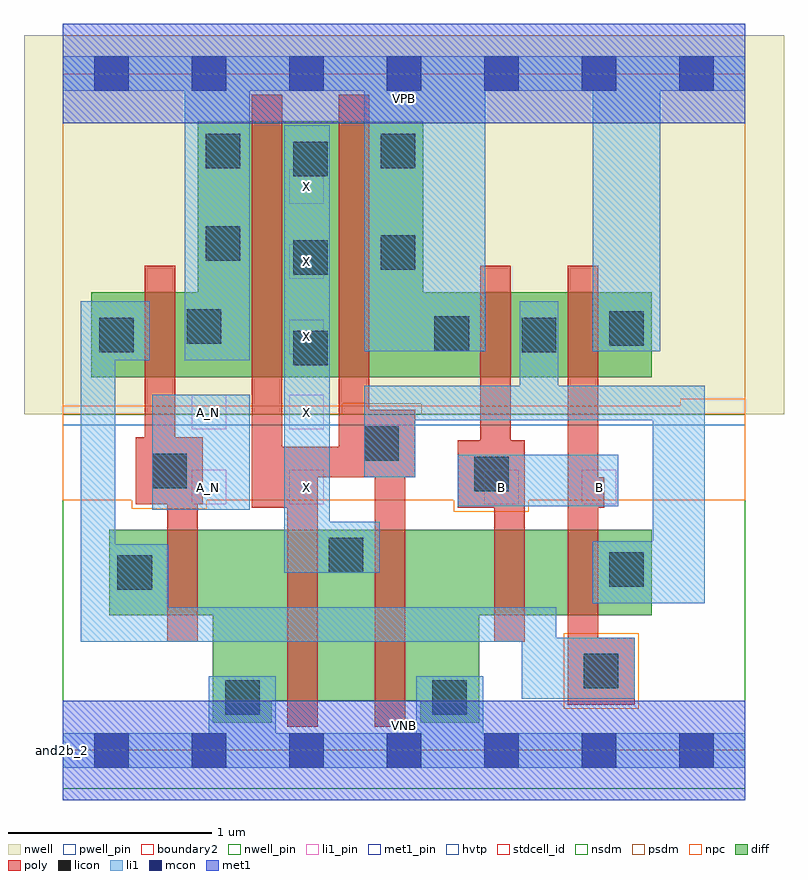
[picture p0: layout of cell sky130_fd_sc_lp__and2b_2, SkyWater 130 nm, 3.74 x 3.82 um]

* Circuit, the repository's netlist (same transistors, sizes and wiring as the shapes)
* Copyright 2020 The SkyWater PDK Authors
*
* Licensed under the Apache License, Version 2.0 (the "License");
* you may not use this file except in compliance with the License.
* You may obtain a copy of the License at
*
*     https://www.apache.org/licenses/LICENSE-2.0
*
* Unless required by applicable law or agreed to in writing, software
* distributed under the License is distributed on an "AS IS" BASIS,
* WITHOUT WARRANTIES OR CONDITIONS OF ANY KIND, either express or implied.
* See the License for the specific language governing permissions and
* limitations under the License.
*
* SPDX-License-Identifier: Apache-2.0

.SUBCKT sky130_fd_sc_lp__and2b_2 A_N B VGND VNB VPB VPWR X
*.PININFO A_N:I B:I VGND:I VNB:I VPB:I VPWR:I X:O
MMP0 y A VPWR VPB sky130_fd_pr__pfet_01v8_hvt m=1 w=0.42U l=0.15U mult=1 sa=0.265
+ sb=0.265 sd=0.28 area=0.063 perim=1.14
MMP1 y B VPWR VPB sky130_fd_pr__pfet_01v8_hvt m=1 w=0.42U l=0.15U mult=1 sa=0.265
+ sb=0.265 sd=0.28 area=0.063 perim=1.14
MMIP0 A A_N VPWR VPB sky130_fd_pr__pfet_01v8_hvt m=1 w=0.42U l=0.15U mult=1 sa=0.265
+ sb=0.265 sd=0.28 area=0.063 perim=1.14
MMIP1 X y VPWR VPB sky130_fd_pr__pfet_01v8_hvt m=2 w=1.26U l=0.15U mult=1 sa=0.265
+ sb=0.265 sd=0.28 area=0.063 perim=1.14
MMN0 y A sndA VNB sky130_fd_pr__nfet_01v8 m=1 w=0.42U l=0.15U mult=1 sa=0.265 sb=0.265
+ sd=0.28 area=0.063 perim=1.14
MMN1 sndA B VGND VNB sky130_fd_pr__nfet_01v8 m=1 w=0.42U l=0.15U mult=1 sa=0.265
+ sb=0.265 sd=0.28 area=0.063 perim=1.14
MMIN0 A A_N VGND VNB sky130_fd_pr__nfet_01v8 m=1 w=0.42U l=0.15U mult=1 sa=0.265
+ sb=0.265 sd=0.28 area=0.063 perim=1.14
MMIN1 X y VGND VNB sky130_fd_pr__nfet_01v8 m=2 w=0.84U l=0.15U mult=1 sa=0.265
+ sb=0.265 sd=0.28 area=0.063 perim=1.14
.ENDS sky130_fd_sc_lp__and2b_2

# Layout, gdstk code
import gdstk
lib = gdstk.Library(unit=1e-6, precision=1e-09)
def R(c, l, rs):  # rectangles x0, y0, x1, y1
    for r in rs: c.add(gdstk.rectangle(r[:2], r[2:], *l))
def A(c, l, x, y, w, h, nx, ny, dx, dy):  # array of equal rectangles
    R(c, l, [(x+i*dx, y+j*dy, x+i*dx+w, y+j*dy+h) for i in range(nx) for j in range(ny)])
def P(c, l, *ps):  # polygons
    for p in ps: c.add(gdstk.Polygon(p, *l))
nwell_pin = (64, 16)
nwell = (64, 20)
diff = (65, 20)
poly = (66, 20)
licon = (66, 44)
li1_pin = (67, 16)
li1 = (67, 20)
mcon = (67, 44)
met1_pin = (68, 16)
met1 = (68, 20)
hvtp = (78, 44)
stdcell_id = (81, 4)
nsdm = (93, 44)
psdm = (94, 20)
npc = (95, 20)
pwell_pin = (122, 16)
boundary2 = (236, 0)

sky130_fd_sc_lp__and2b_2 = lib.new_cell('sky130_fd_sc_lp__and2b_2')
R(sky130_fd_sc_lp__and2b_2, nwell_pin, [(0,3.085,3.36,3.33)])
R(sky130_fd_sc_lp__and2b_2, nwell, [(-0.19,1.655,3.55,3.52)])
P(sky130_fd_sc_lp__and2b_2, diff, [(2.9,2.255),(1.775,2.255),(1.775,3.095),(0.665,3.095),(0.665,2.255),(0.14,2.255),(0.14,1.835),(2.9,1.835)],
  [(2.9,1.085),(0.23,1.085),(0.23,0.665),(0.74,0.665),(0.74,0.135),(1.03,0.135),(1.03,0.245),(1.76,0.245),(1.76,0.135),(2.05,0.135),(2.05,0.665),(2.9,0.665)])
P(sky130_fd_sc_lp__and2b_2, poly, [(0.69,1.54),(0.555,1.54),(0.555,2.385),(0.405,2.385),(0.405,1.54),(0.36,1.54),(0.36,1.21),(0.515,1.21),(0.515,0.535),(0.665,0.535),(0.665,1.21),(0.69,1.21)],
  [(1.735,1.675),(1.51,1.675),(1.51,3.225),(1.36,3.225),(1.36,1.495),(1.08,1.495),(1.08,3.225),(0.93,3.225),(0.93,1.195),(1.105,1.195),(1.105,0.115),(1.255,0.115),(1.255,1.345),(1.535,1.345),(1.535,0.115),(1.685,0.115),(1.685,1.345),(1.735,1.345)],
  [(2.275,1.525),(2.205,1.525),(2.205,2.385),(2.055,2.385),(2.055,1.525),(1.945,1.525),(1.945,1.195),(2.125,1.195),(2.125,0.535),(2.275,0.535)],
  [(2.815,0.555),(2.635,0.555),(2.635,1.195),(2.665,1.195),(2.665,1.345),(2.635,1.345),(2.635,2.385),(2.485,2.385),(2.485,0.225),(2.815,0.225)])
R(sky130_fd_sc_lp__and2b_2, licon, [(0.8,0.175,0.97,0.345), (1.82,0.175,1.99,0.345), (2.565,0.305,2.735,0.475), (0.27,0.79,0.44,0.96), (2.69,0.805,2.86,0.975), (1.31,0.875,1.48,1.045), (2.025,1.275,2.195,1.445), (0.44,1.29,0.61,1.46), (1.485,1.425,1.655,1.595), (1.135,1.895,1.305,2.065), (0.18,1.96,0.35,2.13), (2.26,1.96,2.43,2.13), (1.83,1.965,2,2.135), (2.69,1.99,2.86,2.16), (0.61,2,0.78,2.17), (1.135,2.34,1.305,2.51), (1.565,2.365,1.735,2.535), (0.705,2.41,0.875,2.58), (1.135,2.825,1.305,2.995), (0.705,2.865,0.875,3.035), (1.565,2.865,1.735,3.035)])
A(sky130_fd_sc_lp__and2b_2, li1_pin, 1.115, 1.21, 0.17, 0.17, 1, 5, 0, 0.37)
R(sky130_fd_sc_lp__and2b_2, li1_pin, [(0.635,1.21,0.805,1.38), (2.075,1.21,2.245,1.38), (2.555,1.21,2.725,1.38), (0.635,1.58,0.805,1.75)])
R(sky130_fd_sc_lp__and2b_2, li1, [(0.44,1.185,0.92,1.75), (1.945,1.2,2.735,1.455)])
P(sky130_fd_sc_lp__and2b_2, li1, [(1.485,1.965),(1.485,3.245),(0.92,3.245),(0.92,1.92),(0.6,1.92),(0.6,3.245),(0,3.245),(0,3.415),(3.36,3.415),(3.36,3.245),(2.94,3.245),(2.94,1.965),(2.61,1.965),(2.61,3.245),(2.08,3.245),(2.08,1.965)],
  [(1.74,0.085),(1.74,0.365),(2.07,0.365),(2.07,0.085),(3.36,0.085),(3.36,-0.085),(0,-0.085),(0,0.085),(0.72,0.085),(0.72,0.365),(1.05,0.365),(1.05,0.085)],
  [(0.52,0.705),(2.43,0.705),(2.43,0.555),(2.815,0.555),(2.815,0.255),(2.26,0.255),(2.26,0.535),(0.09,0.535),(0.09,2.21),(0.43,2.21),(0.43,1.92),(0.26,1.92),(0.26,1.015),(0.52,1.015)],
  [(1.735,1.625),(1.735,1.345),(1.485,1.345),(1.485,1.795),(2.25,1.795),(2.25,2.21),(2.44,2.21),(2.44,1.795),(3.16,1.795),(3.16,0.725),(2.61,0.725),(2.61,1.03),(2.905,1.03),(2.905,1.625)],
  [(1.09,3.075),(1.315,3.075),(1.315,1.125),(1.56,1.125),(1.56,0.875),(1.09,0.875)])
A(sky130_fd_sc_lp__and2b_2, mcon, 0.155, -0.085, 0.17, 0.17, 7, 2, 0.48, 3.33)
R(sky130_fd_sc_lp__and2b_2, met1_pin, [(0,0,3.36,0.245), (0,3.085,3.36,3.33)])
R(sky130_fd_sc_lp__and2b_2, met1, [(0,-0.245,3.36,0.245), (0,3.085,3.36,3.575)])
R(sky130_fd_sc_lp__and2b_2, hvtp, [(0,1.6,3.36,3.33)])
R(sky130_fd_sc_lp__and2b_2, stdcell_id, [(0,0,3.36,3.33)])
R(sky130_fd_sc_lp__and2b_2, nsdm, [(0,-0.19,3.36,1.655)])
P(sky130_fd_sc_lp__and2b_2, psdm, [(3.36,3.52),(0,3.52),(0,1.655),(1.375,1.655),(1.375,1.705),(1.765,1.705),(1.765,1.655),(3.36,1.655)])
R(sky130_fd_sc_lp__and2b_2, npc, [(2.465,0.205,2.835,0.575)])
P(sky130_fd_sc_lp__and2b_2, npc, [(3.36,1.73),(3.04,1.73),(3.04,1.695),(0,1.695),(0,1.23),(0.34,1.23),(0.34,1.19),(0.71,1.19),(0.71,1.23),(1.925,1.23),(1.925,1.175),(2.295,1.175),(2.295,1.23),(3.36,1.23)])
R(sky130_fd_sc_lp__and2b_2, pwell_pin, [(0,0,3.36,0.245)])
R(sky130_fd_sc_lp__and2b_2, boundary2, [(0,0,3.36,3.33)])
sky130_fd_sc_lp__and2b_2.add(gdstk.Label('VNB', (1.68,0.123), layer=64, texttype=59))
sky130_fd_sc_lp__and2b_2.add(gdstk.Label('VPB', (1.68,3.208), layer=64, texttype=5))
sky130_fd_sc_lp__and2b_2.add(gdstk.Label('and2b_2', (0,0), layer=83, texttype=44))
sky130_fd_sc_lp__and2b_2.add(gdstk.Label('VPWR', (1.68,3.208), layer=68, texttype=5))
sky130_fd_sc_lp__and2b_2.add(gdstk.Label('VGND', (1.68,0.123), layer=68, texttype=5))
sky130_fd_sc_lp__and2b_2.add(gdstk.Label('B', (2.16,1.295), layer=67, texttype=5))
sky130_fd_sc_lp__and2b_2.add(gdstk.Label('B', (2.64,1.295), layer=67, texttype=5))
sky130_fd_sc_lp__and2b_2.add(gdstk.Label('A_N', (0.72,1.295), layer=67, texttype=5))
sky130_fd_sc_lp__and2b_2.add(gdstk.Label('A_N', (0.72,1.665), layer=67, texttype=5))
sky130_fd_sc_lp__and2b_2.add(gdstk.Label('X', (1.2,1.295), layer=67, texttype=5))
sky130_fd_sc_lp__and2b_2.add(gdstk.Label('X', (1.2,1.665), layer=67, texttype=5))
sky130_fd_sc_lp__and2b_2.add(gdstk.Label('X', (1.2,2.035), layer=67, texttype=5))
sky130_fd_sc_lp__and2b_2.add(gdstk.Label('X', (1.2,2.405), layer=67, texttype=5))
sky130_fd_sc_lp__and2b_2.add(gdstk.Label('X', (1.2,2.775), layer=67, texttype=5))

lib.write_gds('sky130_fd_sc_lp__and2b_2.gds')
